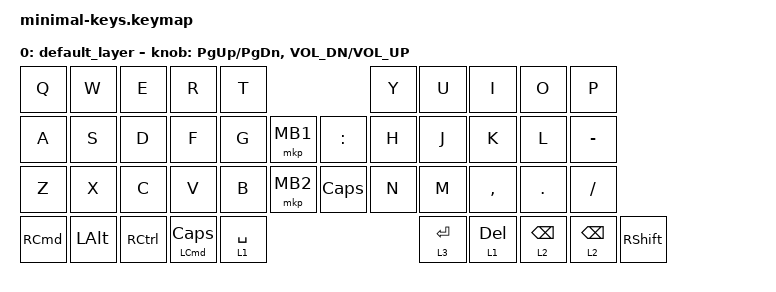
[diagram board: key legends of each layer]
#include <input/processors.dtsi>
#include <dt-bindings/zmk/input_transform.h>
#include <zephyr/dt-bindings/input/input-event-codes.h>
#include <behaviors.dtsi>
#include <dt-bindings/zmk/bt.h>
#include <dt-bindings/zmk/keys.h>
#include <dt-bindings/zmk/pointing.h>
#include <dt-bindings/zmk/mouse.h>

#define ZMK_POINTING_DEFAULT_SCRL_VAL 100
#define MOUSE 5

&mt {
    flavor = "balanced";
    quick-tap-ms = <0>;
    tapping-term-ms = <5>; // Set to 5ms for tap-hold requirements
};

/ {
    combos { compatible = "zmk,combos"; };

    macros {
        to_layer_0: to_layer_0 {
            compatible = "zmk,behavior-macro-one-param";
            #binding-cells = <1>;
            bindings = <&to 0 &macro_param_1to1 &kp MACRO_PLACEHOLDER>;
            label = "TO_LAYER_0";
        };
    };

    behaviors {
        lt_to_layer_0: lt_to_layer_0 {
            compatible = "zmk,behavior-hold-tap";
            label = "LAYER_TAP_TO_0";
            bindings = <&mo>, <&to_layer_0>;

            #binding-cells = <2>;
            tapping-term-ms = <5>; // Set to 5ms for tap-hold requirements
            quick-tap-ms = <0>;
        };

        scroll_up_down: behavior_sensor_rotate_mouse_wheel_up_down {
            compatible = "zmk,behavior-sensor-rotate";
            #sensor-binding-cells = <0>;
            bindings = <&msc SCRL_UP>, <&msc SCRL_DOWN>;

            tap-ms = <5>; // Set to 5ms for responsive scrolling
        };
    };

    keymap {
        compatible = "zmk,keymap";

        default_layer {
            bindings = <
&kp Q     &kp W         &kp E              &kp R                  &kp T                                                                   &kp Y                       &kp U  &kp I      &kp O    &kp P
&kp A     &kp S         &kp D              &kp F                  &kp G                   &mkp MB1                  &kp COLON             &kp H                       &kp J  &kp K      &kp L    &kp MINUS
&kp Z     &kp X         &kp C              &kp V                  &kp B                   &mkp MB2                  &kp CAPS              &kp N                       &kp M  &kp COMMA  &kp DOT  &kp SLASH
&kp RCMD  &kp LEFT_ALT  &kp RIGHT_CONTROL  &mt LEFT_COMMAND CAPS  &lt_to_layer_0 1 SPACE  &lt_to_layer_0 3 ENTER    &lt_to_layer_0 1 DEL  &lt_to_layer_0 2 BACKSPACE                   &lt_to_layer_0 2 BACKSPACE  &kp RIGHT_SHIFT
            >;

            sensor-bindings =
                <&inc_dec_kp PAGE_UP PAGE_DOWN>,
                <&inc_dec_kp C_VOL_DN C_VOL_UP>;
        };

        // Other layers omitted for brevity but would follow the same pattern
        // Include layer_1, layer_2, layer_3, MOUSE layers, etc.
    };
};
